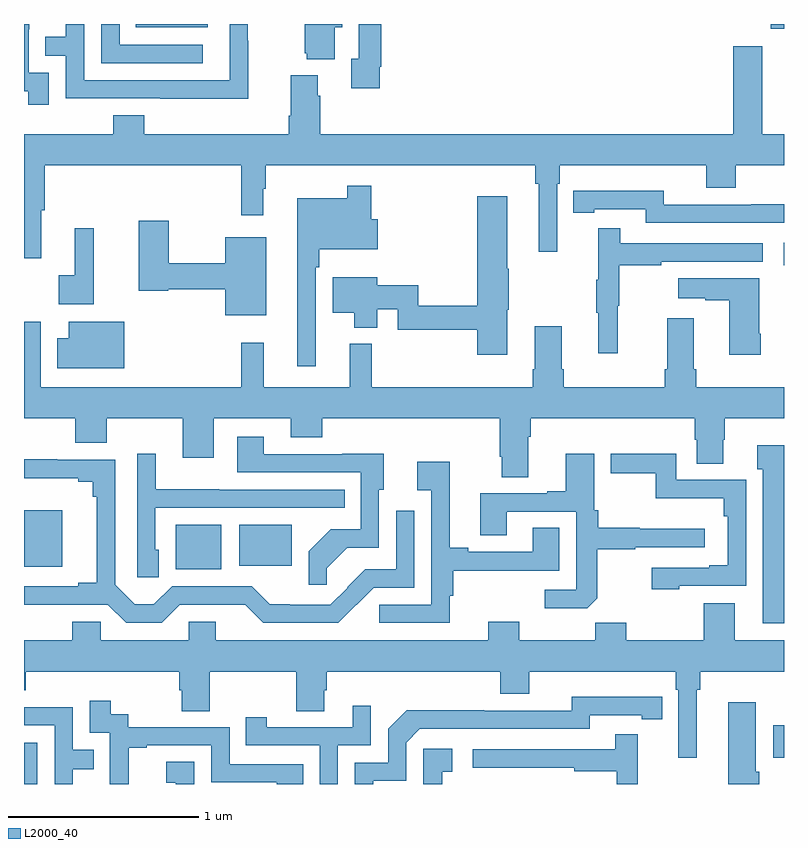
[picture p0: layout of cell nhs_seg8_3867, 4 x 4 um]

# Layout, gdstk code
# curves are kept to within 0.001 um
import gdstk
lib = gdstk.Library(unit=1e-6, precision=1e-09)
def R(c, l, rs):  # rectangles x0, y0, x1, y1
    for r in rs: c.add(gdstk.rectangle(r[:2], r[2:], *l))
def P(c, l, *ps):  # polygons
    for p in ps: c.add(gdstk.Polygon(p, *l))
L2000_40 = (2000, 40)

nhs_seg8_3867 = lib.new_cell('nhs_seg8_3867')
R(nhs_seg8_3867, L2000_40, [(349,1123.9,349.071,1124.118), (352.944,1124.039,353,1124.209), (349.799,1125.029,350.038,1125.265), (349,1125.044,349.201,1125.34), (350.132,1125.05,350.41,1125.265), (352.998,1126.629,353,1126.75), (352.931,1127.874,353,1127.9), (349.588,1127.882,349.966,1127.9)])
P(nhs_seg8_3867, L2000_40, [(350.181,1127.813),(350.178,1127.813),(350.178,1127.9),(350.082,1127.9),(350.082,1127.604),(349.317,1127.604),(349.317,1127.9),(349.221,1127.9),(349.221,1127.834),(349.111,1127.834),(349.111,1127.733),(349.221,1127.733),(349.221,1127.508),(349.717,1127.508),(349.717,1127.507),(350.181,1127.507)],
  [(349.942,1127.79),(349.503,1127.79),(349.503,1127.9),(349.407,1127.9),(349.407,1127.694),(349.942,1127.694)],
  [(349.131,1127.643),(349.026,1127.643),(349.026,1127.873),(349.028,1127.873),(349.028,1127.9),(349,1127.9),(349,1127.545),(349.023,1127.545),(349.023,1127.475),(349.131,1127.475)],
  [(350.872,1127.674),(350.879,1127.674),(350.879,1127.9),(350.763,1127.9),(350.763,1127.718),(350.723,1127.718),(350.723,1127.562),(350.872,1127.562)],
  [(350.635,1127.882),(350.674,1127.882),(350.674,1127.9),(350.477,1127.9),(350.477,1127.745),(350.489,1127.745),(350.489,1127.714),(350.635,1127.714)],
  [(349.091,1126.92),(349.109,1126.92),(349.109,1127.156),(350.143,1127.156),(350.143,1126.893),(350.26,1126.893),(350.26,1127.033),(350.272,1127.033),(350.272,1127.156),(351.691,1127.156),(351.691,1127.06),(351.71,1127.06),(351.71,1126.701),(351.807,1126.701),(351.807,1127.06),(351.821,1127.06),(351.821,1127.156),(352.592,1127.156),(352.592,1127.039),(352.745,1127.039),(352.745,1127.156),(353,1127.156),(353,1127.32),(352.885,1127.32),(352.885,1127.782),(352.733,1127.782),(352.733,1127.32),(350.558,1127.32),(350.558,1127.522),(350.545,1127.522),(350.545,1127.629),(350.405,1127.629),(350.405,1127.416),(350.393,1127.416),(350.393,1127.32),(349.634,1127.32),(349.634,1127.419),(349.469,1127.419),(349.469,1127.32),(349,1127.32),(349,1126.668),(349.091,1126.668)],
  [(350.535,1126.619),(350.555,1126.619),(350.555,1126.715),(350.863,1126.715),(350.863,1126.873),(350.828,1126.873),(350.828,1127.05),(350.7,1127.05),(350.7,1126.984),(350.438,1126.984),(350.438,1126.098),(350.535,1126.098)],
  [(353,1126.952),(352.828,1126.952),(352.828,1126.95),(352.368,1126.95),(352.368,1127.023),(352,1127.023),(352,1127.022),(351.892,1127.022),(351.892,1126.906),(352,1126.906),(352,1126.926),(352.272,1126.926),(352.272,1126.854),(353,1126.854)],
  [(351.544,1126.395),(351.552,1126.395),(351.552,1126.613),(351.544,1126.613),(351.544,1126.993),(351.386,1126.993),(351.386,1126.418),(351.076,1126.418),(351.076,1126.526),(350.86,1126.526),(350.86,1126.567),(350.624,1126.567),(350.624,1126.379),(350.738,1126.379),(350.738,1126.301),(350.86,1126.301),(350.86,1126.398),(350.967,1126.398),(350.967,1126.29),(351.386,1126.29),(351.386,1126.158),(351.544,1126.158)],
  [(350.275,1126.777),(350.06,1126.777),(350.06,1126.64),(349.762,1126.64),(349.762,1126.864),(349.604,1126.864),(349.604,1126.496),(349.758,1126.496),(349.758,1126.504),(350.06,1126.504),(350.06,1126.367),(350.275,1126.367)],
  [(352.124,1126.416),(352.132,1126.416),(352.132,1126.63),(352.355,1126.63),(352.355,1126.65),(352.888,1126.65),(352.888,1126.746),(352.139,1126.746),(352.139,1126.825),(352.022,1126.825),(352.022,1126.553),(352.011,1126.553),(352.011,1126.379),(352.022,1126.379),(352.022,1126.167),(352.124,1126.167)],
  [(349.368,1126.825),(349.268,1126.825),(349.268,1126.577),(349.182,1126.577),(349.182,1126.424),(349.368,1126.424)],
  [(352.878,1126.27),(352.87,1126.27),(352.87,1126.561),(352.443,1126.561),(352.443,1126.457),(352.586,1126.457),(352.586,1126.447),(352.712,1126.447),(352.712,1126.158),(352.878,1126.158)],
  [(351.689,1126.309),(351.689,1126.084),(351.677,1126.084),(351.677,1125.988),(350.831,1125.988),(350.831,1126.216),(350.714,1126.216),(350.714,1125.988),(350.261,1125.988),(350.261,1126.222),(350.143,1126.222),(350.143,1125.988),(349.089,1125.988),(349.089,1126.333),(349,1126.333),(349,1125.824),(349.271,1125.824),(349.271,1125.696),(349.435,1125.696),(349.435,1125.824),(349.835,1125.824),(349.835,1125.618),(349.999,1125.618),(349.999,1125.824),(350.405,1125.824),(350.405,1125.725),(350.569,1125.725),(350.569,1125.824),(351.503,1125.824),(351.503,1125.622),(351.515,1125.622),(351.515,1125.514),(351.655,1125.514),(351.655,1125.728),(351.668,1125.728),(351.668,1125.824),(352.529,1125.824),(352.529,1125.711),(352.541,1125.711),(352.541,1125.586),(352.681,1125.586),(352.681,1125.711),(352.689,1125.711),(352.689,1125.824),(353,1125.824),(353,1125.988),(352.538,1125.988),(352.538,1126.084),(352.525,1126.084),(352.525,1126.351),(352.385,1126.351),(352.385,1126.084),(352.373,1126.084),(352.373,1125.988),(351.842,1125.988),(351.842,1126.084),(351.829,1126.084),(351.829,1126.309)],
  [(349.528,1126.333),(349.235,1126.333),(349.235,1126.246),(349.174,1126.246),(349.174,1126.088),(349.528,1126.088)],
  [(350.594,1125.036),(350.702,1125.144),(350.868,1125.144),(350.868,1125.45),(350.893,1125.45),(350.893,1125.638),(350.675,1125.638),(350.675,1125.636),(350.263,1125.636),(350.263,1125.727),(350.123,1125.727),(350.123,1125.54),(350.772,1125.54),(350.772,1125.24),(350.615,1125.24),(350.499,1125.124),(350.499,1124.949),(350.594,1124.949)],
  [(353,1125.682),(352.859,1125.682),(352.859,1125.557),(352.889,1125.557),(352.889,1124.747),(353,1124.747)],
  [(352.449,1124.943),(352.8,1124.943),(352.8,1125.501),(352.434,1125.501),(352.434,1125.638),(352.089,1125.638),(352.089,1125.535),(352.326,1125.535),(352.326,1125.404),(352.684,1125.404),(352.684,1125.308),(352.704,1125.308),(352.704,1125.052),(352.607,1125.052),(352.607,1125.039),(352.305,1125.039),(352.305,1124.924),(352.449,1124.924)],
  [(352.017,1124.877),(352.017,1125.135),(352.217,1125.135),(352.217,1125.147),(352.582,1125.147),(352.582,1125.244),(352.241,1125.244),(352.241,1125.248),(352.022,1125.248),(352.022,1125.34),(352.002,1125.34),(352.002,1125.637),(351.851,1125.637),(351.851,1125.442),(351.755,1125.442),(351.755,1125.429),(351.401,1125.429),(351.401,1125.208),(351.541,1125.208),(351.541,1125.333),(351.906,1125.333),(351.906,1124.922),(351.741,1124.922),(351.741,1124.826),(351.965,1124.826)],
  [(349.708,1125.132),(349.692,1125.132),(349.692,1125.354),(350.687,1125.354),(350.687,1125.45),(350.027,1125.45),(350.027,1125.451),(349.693,1125.451),(349.693,1125.637),(349.596,1125.637),(349.596,1124.989),(349.708,1124.989)],
  [(349.821,1124.844),(350.165,1124.843),(350.259,1124.748),(350.653,1124.748),(350.841,1124.934),(351.054,1124.934),(351.054,1125.337),(350.958,1125.337),(350.958,1125.03),(350.795,1125.03),(350.701,1124.936),(350.703,1124.934),(350.613,1124.844),(350.398,1124.844),(350.398,1124.846),(350.294,1124.846),(350.199,1124.94),(349.779,1124.94),(349.684,1124.845),(349.583,1124.845),(349.479,1124.949),(349.479,1125.606),(349.175,1125.606),(349.175,1125.608),(349,1125.608),(349,1125.509),(349.286,1125.509),(349.286,1125.49),(349.363,1125.49),(349.363,1125.413),(349.382,1125.413),(349.382,1124.96),(349.286,1124.96),(349.286,1124.94),(349,1124.94),(349,1124.843),(349.442,1124.844),(349.538,1124.748),(349.725,1124.748)],
  [(351.242,1124.891),(351.26,1124.891),(351.26,1125.022),(351.817,1125.022),(351.817,1125.248),(351.677,1125.248),(351.677,1125.123),(351.337,1125.123),(351.337,1125.143),(351.241,1125.143),(351.241,1125.595),(351.069,1125.595),(351.069,1125.446),(351.144,1125.446),(351.144,1124.844),(350.871,1124.844),(350.871,1124.748),(351.242,1124.748)],
  [(352.54,1124.396),(352.559,1124.396),(352.559,1124.492),(353,1124.492),(353,1124.656),(352.741,1124.656),(352.741,1124.851),(352.577,1124.851),(352.577,1124.656),(352.171,1124.656),(352.171,1124.749),(352.007,1124.749),(352.007,1124.656),(351.607,1124.656),(351.607,1124.755),(351.443,1124.755),(351.443,1124.656),(350.008,1124.656),(350.008,1124.754),(349.866,1124.754),(349.866,1124.656),(349.404,1124.656),(349.404,1124.754),(349.253,1124.754),(349.253,1124.656),(349,1124.656),(349,1124.393),(349.01,1124.393),(349.01,1124.492),(349.817,1124.492),(349.817,1124.394),(349.829,1124.394),(349.829,1124.284),(349.977,1124.284),(349.977,1124.492),(350.434,1124.492),(350.434,1124.284),(350.581,1124.284),(350.581,1124.394),(350.594,1124.394),(350.594,1124.492),(351.506,1124.492),(351.506,1124.375),(351.658,1124.375),(351.658,1124.492),(352.43,1124.492),(352.43,1124.396),(352.443,1124.396),(352.443,1124.037),(352.54,1124.037)],
  [(350.839,1123.917),(351.012,1123.917),(351.012,1124.118),(351.084,1124.19),(351.978,1124.19),(351.978,1124.262),(352.25,1124.262),(352.25,1124.242),(352.358,1124.242),(352.358,1124.358),(351.882,1124.359),(351.882,1124.286),(351.422,1124.286),(351.422,1124.288),(351.014,1124.288),(350.916,1124.19),(350.916,1124.013),(350.742,1124.013),(350.742,1123.9),(350.839,1123.9)],
  [(349.55,1124.091),(349.645,1124.091),(349.645,1124.103),(349.986,1124.103),(349.986,1123.908),(350.331,1123.908),(350.331,1123.9),(350.471,1123.9),(350.471,1124.004),(350.082,1124.004),(350.082,1124.199),(349.548,1124.199),(349.548,1124.268),(349.456,1124.268),(349.456,1124.338),(349.347,1124.338),(349.347,1124.169),(349.452,1124.169),(349.452,1123.94),(349.451,1123.94),(349.451,1123.9),(349.55,1123.9)],
  [(352.87,1123.965),(352.852,1123.965),(352.852,1124.329),(352.706,1124.329),(352.706,1123.9),(352.87,1123.9)],
  [(350.652,1124.103),(350.826,1124.103),(350.826,1124.311),(350.729,1124.311),(350.729,1124.199),(350.278,1124.199),(350.278,1124.251),(350.167,1124.251),(350.167,1124.103),(350.556,1124.103),(350.556,1123.9),(350.652,1123.9)],
  [(349.257,1123.978),(349.367,1123.978),(349.367,1124.079),(349.257,1124.079),(349.257,1124.304),(349,1124.304),(349,1124.208),(349.161,1124.208),(349.161,1123.9),(349.257,1123.9)],
  [(352.229,1124.161),(352.111,1124.161),(352.111,1124.082),(351.363,1124.082),(351.363,1123.986),(351.895,1123.986),(351.895,1123.966),(352.119,1123.966),(352.119,1123.9),(352.229,1123.9)],
  [(351.2,1123.965),(351.253,1123.965),(351.253,1124.086),(351.102,1124.086),(351.102,1123.9),(351.2,1123.9)],
  [(349.896,1124.017),(349.749,1124.017),(349.749,1123.907),(349.798,1123.907),(349.798,1123.9),(349.896,1123.9)])

lib.write_gds('nhs_seg8_3867.gds')
